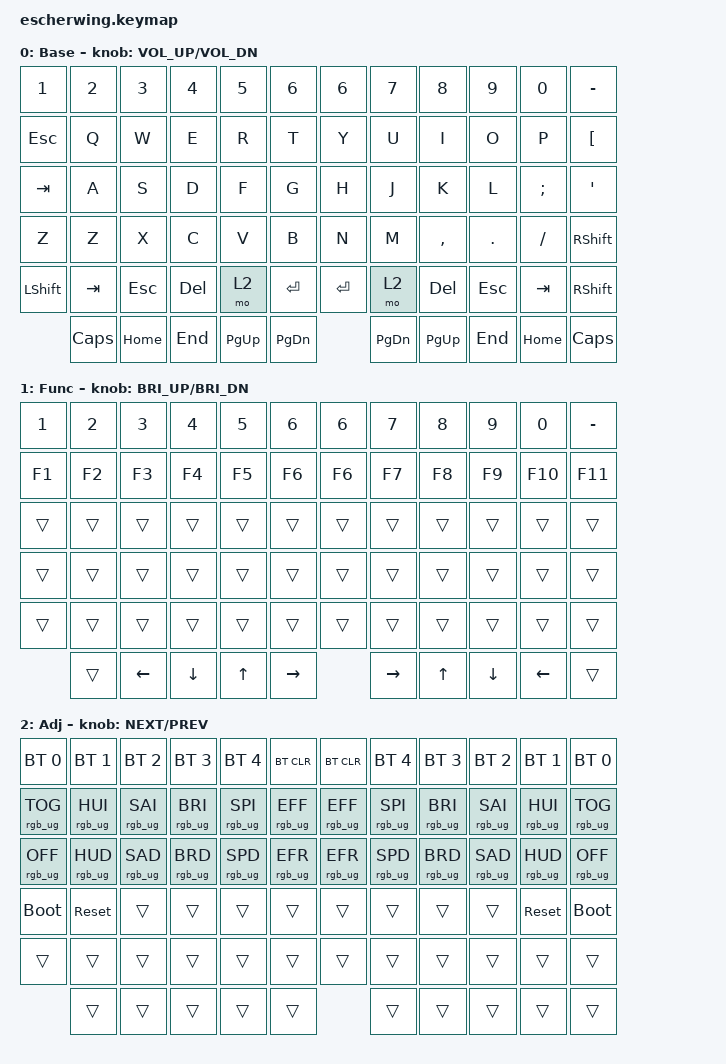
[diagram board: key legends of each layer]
/*
 * Copyright (c) 2023 The ZMK Contributors
 *
 * SPDX-License-Identifier: MIT
 */

#include <behaviors.dtsi>
#include <dt-bindings/zmk/keys.h>
#include <dt-bindings/zmk/bt.h>
#include <dt-bindings/zmk/rgb.h>

/ {
    keymap {
        compatible = "zmk,keymap";
        
        // Base layer (QWERTY) - Split layout
        default_layer {
            label = "Base";
            bindings = <
                // Left side                                      Right side
                &kp N1     &kp N2     &kp N3     &kp N4     &kp N5     &kp N6     &kp N6     &kp N7     &kp N8     &kp N9     &kp N0     &kp MINUS
                &kp ESC      &kp Q      &kp W      &kp E      &kp R      &kp T      &kp Y      &kp U      &kp I      &kp O      &kp P      &kp LBKT
                &kp TAB      &kp A      &kp S      &kp D      &kp F      &kp G      &kp H      &kp J      &kp K      &kp L      &kp SEMI   &kp SQT
                &kp Z      &kp Z      &kp X      &kp C      &kp V      &kp B      &kp N      &kp M      &kp COMMA  &kp DOT    &kp FSLH   &kp RSHIFT
                &kp LSHIFT &kp TAB    &kp ESC    &kp DEL    &mo 2      &kp RET    &kp RET    &mo 2      &kp DEL    &kp ESC    &kp TAB    &kp RSHIFT
                           &kp CAPS   &kp HOME   &kp END    &kp PG_UP  &kp PG_DN             &kp PG_DN  &kp PG_UP  &kp END    &kp HOME   &kp CAPS
            >;
            
            sensor-bindings = <&inc_dec_kp C_VOL_UP C_VOL_DN>;
        };

        // Function/Number layer
        function_layer {
            label = "Func";
            bindings = <
                // Left side                                      Right side  
                &kp N1     &kp N2     &kp N3     &kp N4     &kp N5     &kp N6     &kp N6     &kp N7     &kp N8     &kp N9     &kp N0     &kp MINUS
                &kp F1     &kp F2     &kp F3     &kp F4     &kp F5     &kp F6     &kp F6     &kp F7     &kp F8     &kp F9     &kp F10    &kp F11
                &trans     &trans     &trans     &trans     &trans     &trans     &trans     &trans     &trans     &trans     &trans     &trans
                &trans     &trans     &trans     &trans     &trans     &trans     &trans     &trans     &trans     &trans     &trans     &trans
                &trans     &trans     &trans     &trans     &trans     &trans     &trans     &trans     &trans     &trans     &trans     &trans
                           &trans     &kp LEFT   &kp DOWN   &kp UP     &kp RIGHT             &kp RIGHT  &kp UP     &kp DOWN   &kp LEFT   &trans
            >;
            
            sensor-bindings = <&inc_dec_kp C_BRI_UP C_BRI_DN>;
        };

        // Adjust layer (accessed via combo or triple-tap)
        adjust_layer {
            label = "Adj";
            bindings = <
                // Left side                                                                          Right side
                &bt BT_SEL 0 &bt BT_SEL 1 &bt BT_SEL 2 &bt BT_SEL 3 &bt BT_SEL 4 &bt BT_CLR      &bt BT_CLR  &bt BT_SEL 4 &bt BT_SEL 3 &bt BT_SEL 2 &bt BT_SEL 1 &bt BT_SEL 0
                &rgb_ug RGB_TOG &rgb_ug RGB_HUI &rgb_ug RGB_SAI &rgb_ug RGB_BRI &rgb_ug RGB_SPI &rgb_ug RGB_EFF  &rgb_ug RGB_EFF &rgb_ug RGB_SPI &rgb_ug RGB_BRI &rgb_ug RGB_SAI &rgb_ug RGB_HUI &rgb_ug RGB_TOG
                &rgb_ug RGB_OFF &rgb_ug RGB_HUD &rgb_ug RGB_SAD &rgb_ug RGB_BRD &rgb_ug RGB_SPD &rgb_ug RGB_EFR  &rgb_ug RGB_EFR &rgb_ug RGB_SPD &rgb_ug RGB_BRD &rgb_ug RGB_SAD &rgb_ug RGB_HUD &rgb_ug RGB_OFF
                &bootloader &sys_reset     &trans     &trans     &trans     &trans     &trans     &trans     &trans     &trans     &sys_reset     &bootloader
                &trans     &trans     &trans     &trans     &trans     &trans     &trans     &trans     &trans     &trans     &trans     &trans
                           &trans     &trans     &trans     &trans     &trans                &trans     &trans     &trans     &trans     &trans
            >;
            
            sensor-bindings = <&inc_dec_kp C_NEXT C_PREV>;
        };
    };
};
